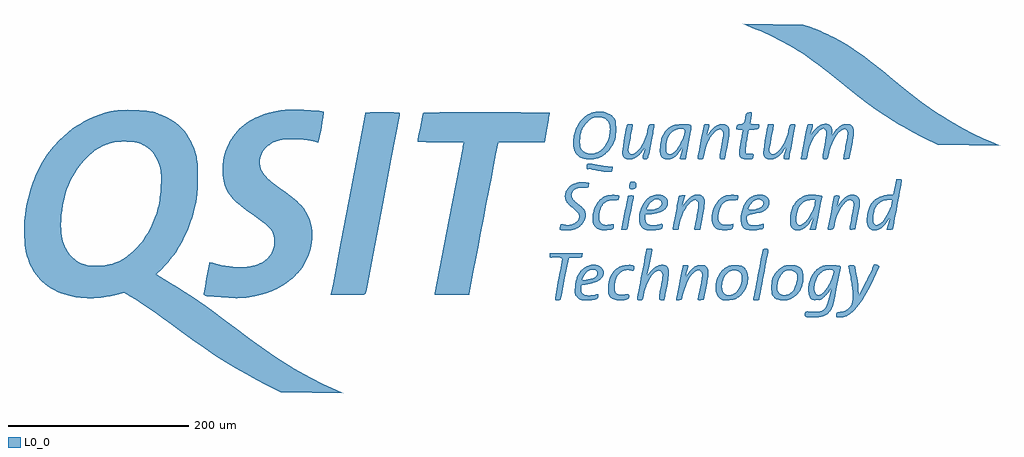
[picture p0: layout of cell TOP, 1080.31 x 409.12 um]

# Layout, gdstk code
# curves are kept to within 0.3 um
import gdstk
lib = gdstk.Library(unit=1e-6, precision=1e-09)
def P(c, l, *ps):  # polygons
    for p in ps: c.add(gdstk.Polygon(p, *l))
L0_0 = (0, 0)

top = lib.new_cell('TOP')
P(top, L0_0, [(353.5,94.997),(284.5,96.257),(257.091,109.932),(234.391,122.581),(211.86,136.74),(186.235,154.556),(146.978,183.075),(123.345,198.933),(111.101,206.168),(95.745,202.479),(84.936,200.949),(77.577,200.49),(63.179,200.894),(53.142,202.341),(40.829,205.892),(33.263,209.404),(23.175,216.139),(15.843,223.318),(11.734,228.795),(8.091,235.16),(4.678,243.265),(2.292,251.729),(0.763,262.131),(0.258,269.954),(0.556,285.625),(2.779,302.551),(4.627,311.127),(6.941,319.588),(12.611,335.224),(15.51,341.55),(22.293,353.699),(26.157,359.488),(34.683,370.298),(37.895,373.742),(111.931,373.742),(100.237,372.929),(93.818,371.156),(86.911,368.249),(78.16,363.273),(74.434,360.277),(67.114,353.157),(60.285,344.893),(57.253,340.468),(52.006,331.113),(49.754,326.093),(46.027,315.456),(42.26,297.652),(41.062,281.431),(41.925,269.17),(43.218,263.476),(45.164,257.97),(47.236,253.732),(50.964,248.393),(55.593,243.824),(59.093,241.299),(62.879,239.227),(68.728,237.104),(73.646,236.271),(81.127,236.107),(93.215,237.24),(98.469,238.559),(106.563,241.98),(112.013,245.161),(117.88,249.51),(121.735,252.911),(128.775,260.396),(135.166,269.123),(140.601,278.682),(146.903,294.517),(150.431,309.844),(151.341,318.186),(151.874,336.629),(150.886,344.067),(148.858,350.497),(144.555,358.982),(139.916,364.63),(132.454,369.673),(124.234,372.829),(111.931,373.742),(37.895,373.742),(49.103,384.126),(54.399,388.175),(65.579,395.326),(77.36,401.056),(83.483,403.392),(89.732,405.365),(100.788,407.86),(114.869,408.749),(127.983,408.422),(141.608,406.848),(148.101,404.868),(159.451,400.066),(165.001,396.822),(170.145,392.978),(176.943,386.199),(182.701,378.1),(187.974,367.115),(190.593,359.062),(192.004,351.843),(192.384,346.119),(192.302,321.187),(191.367,310.441),(189.982,302.896),(186.185,288.705),(181.224,275.214),(175.08,262.484),(171.638,256.538),(163.961,245.326),(155.369,235.382),(146.298,226.558),(170.507,212.184),(185.955,202.356),(201.845,191.404),(250.317,155.399),(280.052,134.352),(299.406,122.353),(311.601,115.386),(331.219,105.096)],
  [(626.266,353.982),(620.894,354.451),(616.273,355.967),(612.365,358.898),(610.078,362.08),(608.537,366.731),(608.142,373.894),(608.814,380.024),(610.409,385.865),(611.968,389.566),(614.994,394.712),(620.552,400.83),(636.027,400.83),(631.105,400.261),(628.663,399.251),(624.751,395.995),(620.06,390.536),(617.706,386.158),(616.478,382.23),(615.548,372.475),(615.872,368.679),(616.823,365.842),(618.411,363.545),(621.061,361.545),(624.965,360.297),(628.7,360.121),(633.194,361.039),(636.429,362.463),(639.037,364.216),(641.915,367.107),(645.731,373.159),(647.251,376.727),(648.247,380.973),(648.824,387.125),(648.548,391.059),(647.568,394.28),(646.245,396.462),(644.43,398.258),(639.632,400.439),(636.027,400.83),(620.552,400.83),(626.292,404.549),(633.264,406.597),(639.055,406.789),(645.874,405.243),(649.302,403.533),(652.031,401.347),(653.9,398.987),(654.955,396.422),(655.5,389.842),(655.376,381.08),(653.936,374.368),(651.787,369.748),(649.112,365.697),(646.347,362.491),(641.766,358.483),(635.68,355.375),(631.678,354.421)],
  [(712.264,353.937),(709.33,354.451),(706.958,355.736),(704.933,358.329),(704.163,360.796),(704.284,368.589),(704.857,372.913),(706.277,378.306),(708.973,383.633),(712.78,387.923),(727.392,387.923),(723.027,387.125),(718.338,384.909),(714.894,381.306),(712.829,377.457),(711.243,371.247),(711.209,362.744),(711.701,361.249),(712.744,360.15),(714.304,359.56),(716.062,359.652),(720.125,362.02),(724.491,367.542),(729.927,378.459),(731.211,382.761),(731.592,385.895),(730.874,387.098),(728.63,387.863),(712.78,387.923),(716.797,390.638),(721.827,392.384),(731.403,392.846),(735.252,392.654),(737.973,391.936),(738.861,389.879),(738.528,386.11),(732.632,354),(727.864,354.085),(726.007,354.83),(728.97,365.625),(729.584,368.51),(729.269,368.964),(728.724,366.888),(727.665,365.138),(721.462,357.477),(716.98,354.766)],
  [(694.288,275.307),(690.316,275.572),(687.129,276.477),(684.668,278.078),(682.852,280.254),(681.579,283.524),(681.016,287.558),(681.239,291.969),(682.22,296.773),(685.194,303.889),(689.69,309.887),(700.796,309.887),(697.205,308.947),(694.831,307.158),(690.347,301.266),(689.526,299.254),(689.746,298.155),(698.228,298.837),(701.351,299.703),(703.855,301.059),(705.439,302.85),(706,304.859),(705.55,307.328),(704.291,308.834),(701.408,309.865),(689.69,309.887),(693.082,312.479),(696.969,314.132),(702.06,314.923),(705.936,314.371),(709.916,312.287),(712.422,308.897),(712.966,305.085),(711.489,300.962),(708.244,297.675),(703.437,295.287),(697.613,293.859),(688,292.72),(688,288.236),(688.812,284.099),(691.192,281.782),(693.587,281.161),(697.412,281.034),(706.179,282.465),(706.915,281.787),(706.847,278.907),(705.846,277.257),(703.869,276.399)],
  [(807.769,275.3),(803.173,275.551),(799.163,276.532),(796.815,277.949),(795.092,280.069),(793.931,284.014),(793.59,288.145),(794.055,293.768),(794.934,297.617),(797.883,304.526),(801.958,309.799),(813.148,309.799),(809.495,308.865),(806.144,306.319),(802.139,300.185),(802.025,299.123),(802.625,298.249),(805.891,298.185),(810.155,298.798),(813.335,299.618),(816.136,301.051),(817.939,303.017),(818.785,305.529),(818.263,307.045),(816.441,308.903),(813.559,309.788),(801.958,309.799),(806.023,312.839),(809.469,314.214),(814.421,314.903),(818.527,314.429),(822.791,312.075),(824.928,308.531),(824.913,303.867),(822.854,299.891),(820.727,297.796),(817.644,296.041),(802.407,292.344),(800.963,291.79),(800.294,290.678),(800.376,287.619),(801.138,284.094),(801.979,282.525),(803.141,281.604),(809.464,280.98),(814.02,281.304),(818.087,282.507),(818.838,282.107),(818.85,278.557),(817.894,277.218),(812.585,275.81)],
  [(856.654,275.294),(853.285,275.882),(850.833,277.507),(849.012,279.972),(848.17,283.1),(848.188,288.657),(849.002,294.884),(850.281,299.579),(852.491,303.984),(856.823,309),(876.262,309),(869.069,308.838),(864.701,307.584),(860.91,305.007),(858.17,301.394),(856.505,297.313),(855.594,293.335),(855.238,285.021),(855.595,283.186),(856.583,281.761),(858.009,280.955),(859.674,281.001),(864.821,284.416),(868.569,289.211),(874.49,300.882),(876.262,309),(856.823,309),(862.089,312.781),(868.595,314.618),(876.524,314.619),(883.065,313.458),(883.519,311.694),(876.764,276),(870.007,276.238),(873.94,289.998),(869.7,283.767),(865.628,279.201),(861.282,276.364)],
  [(941.501,275.245),(938.436,275.895),(936.042,277.579),(934.264,280.111),(933.379,283.164),(933.233,288.885),(933.691,293.185),(935.181,299.084),(936.869,302.958),(939.005,306.168),(941.71,309),(961.262,309),(954.11,308.843),(949.813,307.623),(946.04,305.112),(942.833,300.792),(941.587,297.689),(940.353,291.962),(940.139,287.112),(940.578,283.636),(942.147,281.606),(944.022,281.053),(946.536,282.014),(949.073,283.759),(952.341,287.325),(957.026,295.4),(959.917,302.103),(961.262,309),(941.71,309),(945.688,311.721),(951.059,313.737),(955.656,314.508),(962.5,314.872),(965.951,331.85),(967.218,332.176),(971.662,331.484),(971.926,330.093),(961.978,276.387),(955.181,276),(958.325,288.669),(953.524,282.26),(949.707,278.472),(945.626,276.071)],
  [(871.146,179.068),(867.156,179.327),(865.089,180.163),(864.394,182.31),(865.244,184.86),(867.31,185.573),(879.877,185.298),(883.546,186.248),(885.891,187.736),(887.446,189.543),(888.688,192.107),(893.75,210.16),(893.29,210.848),(888.582,204.186),(885.517,201.182),(882.235,198.835),(879.806,198.12),(876.659,198.037),(873.353,198.528),(871.472,199.329),(870.267,200.746),(869.065,203.954),(868.314,211.112),(869.905,219.725),(872.713,226.065),(875.087,229.386),(877.715,232.042),(891.873,232.042),(886.883,231.092),(882.944,229.095),(879.89,226.133),(877.863,222.375),(875.299,213.876),(875.101,209.022),(875.745,206.61),(877.109,204.566),(878.78,203.557),(880.606,203.651),(884.435,206.003),(890.083,213.202),(894.467,222.023),(896.298,230.033),(895.537,231.324),(892.948,232),(877.715,232.042),(881.936,234.886),(886.944,236.549),(892.538,236.851),(903.284,235.996),(903.996,235.092),(904.131,233.881),(895.72,192.666),(894.068,188.419),(890.287,183.608),(886.035,180.931),(880.022,179.456)],
  [(841.243,197.942),(837.115,198.266),(833.097,199.37),(830.414,201.134),(828.291,203.846),(827.597,207.005),(827.534,214.424),(827.855,218.87),(828.781,222.519),(831.368,227.24),(834.944,231.338),(846.508,231.338),(843.902,230.906),(841.511,229.7),(837.709,225.075),(834.727,218.044),(833.816,211.221),(835.043,207.089),(837.649,204.546),(842.558,203.71),(847.022,204.741),(849.158,206.076),(851.174,208.127),(854.122,213.891),(855.919,220.983),(856.155,224.355),(855.541,226.96),(853.534,229.458),(849.613,230.985),(834.944,231.338),(839.941,235.047),(843.687,236.455),(851.189,236.845),(856.208,235.871),(858.817,234.325),(860.506,232.605),(861.712,230.559),(862.607,227.506),(862.709,220.175),(860.936,212.268),(857.886,206.683),(853.433,202.226),(847.642,198.958)],
  [(775.744,198.028),(772.803,198.641),(769.792,200.904),(767.423,203.966),(766.022,207.672),(765.612,212.453),(766.171,217.55),(767.493,222.311),(769.141,225.92),(773.221,231.322),(786.399,231.322),(783.715,230.918),(781.121,229.829),(777.075,226.242),(774.387,221.619),(772.833,215.372),(773.09,209.606),(773.812,207.378),(774.989,205.625),(776.496,204.368),(778.519,203.577),(781.068,203.492),(783.641,204.048),(788.361,206.931),(792.359,212.674),(793.917,216.623),(794.707,220.556),(794.795,224.131),(794.261,226.4),(792.039,229.388),(788.414,231.13),(773.221,231.322),(777.477,234.64),(781.317,236.331),(789.53,236.657),(793.081,236.271),(795.681,235.353),(797.729,233.785),(799.68,231.275),(800.949,228.361),(801.54,225.21),(801.656,221.187),(801.082,217.032),(798.087,209.202),(793.843,203.712),(788.419,199.865),(784.254,198.563)],
  [(620.7,198),(617.525,198.21),(615.159,199.055),(611.857,202.047),(610.317,204.392),(609.975,206.811),(610.249,213.527),(610.899,218.364),(612.29,223.385),(614.721,228.115),(618.049,231.964),(629.984,231.964),(625.942,231.25),(623.116,229.48),(620.221,225.614),(618.032,220.865),(618.593,220.132),(619.563,219.938),(627.484,221.589),(631.919,223.07),(633.898,224.655),(634.888,226.892),(634.685,229.43),(633.224,231.268),(630.548,231.949),(618.049,231.964),(622.343,234.997),(627.311,236.842),(632.038,237.148),(635.75,236.273),(639.277,233.877),(641.877,229.835),(641.585,226.449),(639.804,223.06),(637.06,220.275),(633.176,218.206),(624.036,215.832),(617.601,214.968),(617,209.92),(617.7,206.146),(620.323,203.946),(625.947,203.228),(635.224,204.833),(635.912,204.099),(635.781,201.577),(633.947,199.635),(630.885,198.552)],
  [(1080.5,369.006),(1011.5,370.234),(979.867,386.149),(958.661,398.705),(942.542,409.362),(919.817,426.45),(893.857,447.616),(873.806,462.77),(851.381,477.613),(840.516,483.756),(828.702,489.697),(795.5,504.121),(862.783,503.02),(873.78,499.193),(889.896,492.252),(903.773,485.078),(911.17,480.688),(930.778,467.396),(950.664,451.783),(976.651,430.441),(997.934,414.404),(1010.568,405.63),(1023.061,397.654),(1035.402,390.503),(1062.443,376.941)],
  [(236.447,200.444),(226.639,200.611),(203.027,202.491),(201.139,203.046),(199.295,204.383),(205.404,239.609),(205.8,239.924),(222.976,236.034),(235.612,234.631),(247.535,235.078),(257.792,237.259),(263.095,239.58),(266.411,241.64),(270.309,244.922),(273.052,248.285),(275.133,252.067),(276.555,256.392),(277.192,260.182),(277.275,265.392),(276.495,269.989),(275.399,273.087),(273.316,276.514),(270.64,279.534),(267.136,282.679),(248.436,295.85),(235.552,306.095),(229.526,312.511),(224.291,320.731),(222.023,326.741),(220.663,333.033),(220,344.014),(221.518,356.317),(223.774,364.274),(226.56,370.944),(229.933,376.941),(233.971,382.51),(241.328,390.083),(247.002,394.527),(253.121,398.332),(265.673,403.823),(270.953,405.496),(281.756,407.921),(292.528,408.94),(317.455,408.356),(327.155,407.66),(331.705,406.517),(332.151,405.696),(329.654,389.558),(326.048,372.342),(314.451,375.265),(307.291,376.118),(290.964,376.326),(286.192,375.916),(282.063,374.951),(272.779,370.667),(266.934,365.783),(263.101,359.836),(261.29,353.096),(261.316,348.364),(262.513,343.433),(264.341,339.61),(268.097,334.618),(276.167,327.302),(289.68,317.546),(301.881,307.873),(309.069,300.388),(314.493,292.109),(316.367,287.806),(318.319,280.969),(319.078,275.74),(319.332,268.842),(318.816,261.959),(317.538,255.175),(313.922,244.641),(308.077,234.243),(303.152,227.993),(293.912,219.327),(283.227,212.251),(274.485,208.125),(262.142,203.979),(249.384,201.372)],
  [(339.841,204),(378.021,405.51),(401.812,406),(415.579,405.351),(415.993,404.826),(415.887,403.208),(378.404,205.945),(376.608,204.51),(372.531,204.046)],
  [(470.357,204),(455.194,204.32),(455.022,205.068),(487.038,373),(445.544,373.091),(436.265,373.657),(436.117,375.755),(441.77,404.597),(442.997,405.377),(460.559,405.945),(581.875,405.513),(576.547,373),(525.023,372.597),(492.993,204.53)],
  [(800.452,354),(797.455,354.339),(794.145,355.436),(792.603,357.051),(791.801,359.783),(791.669,362.773),(792.767,370.406),(795.993,386.658),(789.471,387.072),(788.552,388.026),(789.2,390.644),(790.106,391.981),(795.68,393.357),(797.084,394.427),(797.803,396.022),(799.062,402.873),(800.095,404.879),(804.409,406.044),(805.434,405.608),(805.858,404.622),(804.327,393.595),(805.494,393.069),(812.884,392.712),(813.803,391.993),(813.961,390.743),(813.274,388.604),(811.447,387.383),(802.532,386.5),(799.603,369.895),(799,360),(806.734,359.903),(807.597,359.456),(807.883,358.693),(807.27,355.928),(806.261,354.542)],
  [(670.134,354),(667.045,354.466),(664.93,355.648),(663.206,358.048),(662.316,361.108),(665.166,380.602),(667.64,391.991),(669.1,392.762),(671.17,393),(673.027,392.695),(673.989,391.854),(669.178,364.3),(669.445,362.446),(670.338,360.826),(671.625,359.81),(673.398,359.434),(675.142,359.93),(678.965,362.844),(682.051,366.439),(685.014,371.119),(688.418,378.942),(691.877,391.695),(692.699,392.357),(694.545,392.789),(697.798,392.442),(697.956,391.425),(693.754,368.793),(691.833,358.884),(690.665,355.293),(689.445,354.326),(687.785,354),(685.82,354.485),(685.09,355.495),(685.13,357.649),(687.952,367.907),(683.199,361.243),(679.416,357.303),(674.786,354.711)],
  [(748.769,354),(746.387,354.628),(746.037,356.336),(751.855,387.936),(753.087,392.08),(754.175,392.803),(756.222,393),(758.149,392.652),(758.831,391.833),(758.814,390.045),(756.046,380.128),(762.071,387.417),(767.385,391.511),(770.483,392.686),(773.406,393),(775.943,392.551),(778.465,391.219),(780.452,388.284),(781,382.291),(779.864,373.698),(775.966,354.268),(771.964,354.138),(770.774,354.714),(770.211,355.669),(770.339,358.801),(774.199,381.969),(773.995,384.377),(773.349,385.649),(771.874,386.652),(769.927,387),(767.604,386.391),(765.663,385.055),(762.975,382.287),(759.382,377.425),(755.992,370.024),(752.1,355.282),(750.991,354.241)],
  [(826.135,354),(823.05,354.465),(820.936,355.642),(819.212,358.027),(818.334,361.035),(821.161,380.293),(823.756,392.167),(824.859,392.778),(827.203,392.987),(829.391,392.627),(829.993,391.837),(825.178,363.881),(825.46,362.277),(826.505,360.638),(827.832,359.717),(829.395,359.435),(831.137,359.93),(834.962,362.842),(838.054,366.434),(841.027,371.111),(844.452,378.936),(847.956,391.684),(850.591,392.79),(853.599,392.521),(853.942,391.004),(846.988,354.192),(842.86,354.122),(841.634,354.616),(840.995,355.69),(840.98,357.225),(843.27,364.82),(843.534,367.053),(838.112,359.942),(834.535,356.644),(830.802,354.715)],
  [(862.733,354),(860.617,354.261),(860.22,355.524),(865.714,384.128),(867.267,391.409),(868.005,392.536),(871.888,392.956),(873.402,392.17),(871.041,382.421),(871.473,381.625),(876.469,387.77),(880.91,391.297),(885.998,393.063),(888.533,393.118),(890.466,392.592),(892.985,390.64),(894.431,387.857),(894.799,385.209),(894.251,380.046),(900.795,388.439),(903.238,390.551),(905.937,392.078),(909.428,392.956),(913.306,392.809),(915.38,391.931),(917.331,389.81),(918.717,385.83),(918.614,381.407),(913.5,354.5),(908.829,354.125),(907.011,354.615),(911.812,381.797),(911.217,385.959),(910.15,386.899),(908.398,387.293),(905.896,386.633),(903.06,384.52),(900.499,381.776),(897.516,377.501),(893.622,369.1),(889.521,354.87),(888.68,354.27),(886.787,354),(884.593,354.883),(884.177,355.901),(884.341,358.813),(888.247,382.663),(888.071,384.974),(887.423,386.605),(886.406,387.398),(884.533,387.74),(882.614,387.29),(880.903,386.049),(875.158,379.233),(870.381,369.693),(868.723,364.471),(866.666,355.286),(865.634,354.247)],
  [(647.944,339.961),(641.734,340.37),(629.108,342.706),(624.204,343.132),(623.109,344.262),(623.345,347.741),(624.696,348.886),(629.086,348.83),(641.337,346.687),(651.064,345.851),(651.816,345.061),(650.936,340.424),(650.355,339.994)],
  [(673.284,320.949),(671.509,321.278),(670.508,322.191),(670.052,324.005),(670.296,325.968),(672.092,328.986),(675.441,329.251),(676.719,328.59),(677.723,327.241),(677.971,323.747),(676.414,321.815)],
  [(599.942,275.508),(593.556,276.114),(593.441,278.825),(594.294,281.994),(595.349,282.373),(602.669,281.223),(607.967,282.313),(610.549,283.66),(612.887,285.701),(614.188,287.921),(614.68,290.585),(614.295,293.033),(612.713,295.581),(603.107,303.832),(600.083,308.043),(599.235,310.649),(599,313.411),(599.392,316.27),(600.485,319.181),(602.399,322.088),(604.327,324.038),(607.468,326.193),(610.676,327.605),(614.751,328.476),(625.061,328.133),(625.622,327.659),(625.521,326.105),(624.427,322.757),(623.156,322.402),(615.72,322.633),(611.619,321.608),(607.859,318.969),(606.249,315.462),(606.559,312.419),(608.28,309.514),(617.041,301.879),(619.816,299.05),(621.009,297.078),(621.774,294.528),(621.899,291.624),(620.322,285.761),(616.706,280.777),(612.339,277.661),(607.508,275.914)],
  [(642.615,275.405),(638.342,275.951),(634.943,277.351),(632.128,279.654),(630.468,282.252),(629.757,284.974),(629.648,290.168),(630.24,294.97),(631.541,299.554),(633.551,303.793),(636.124,307.45),(639.154,310.451),(642.007,312.394),(647.543,314.305),(653.642,314.563),(657.726,314.231),(658.778,313.556),(658.928,312.709),(658.519,310.28),(657.767,308.949),(656.368,308.542),(649.72,308.725),(645.672,307.664),(641.609,304.73),(638.804,300.255),(637.529,296.321),(636.822,291.014),(637.131,286.648),(638.448,283.905),(640.159,282.317),(642.607,281.412),(646.181,281.331),(651.764,282.363),(652.886,281.703),(652.807,278.509),(651.718,276.903),(647.448,275.786)],
  [(720.346,276),(718.433,276.39),(718.227,277.784),(724.43,310.376),(725.294,313.155),(726.611,313.884),(731.859,314),(729.246,304.347),(729.199,302.342),(734.899,309.283),(738.249,312.328),(740.537,313.738),(743.523,314.766),(745.824,314.984),(748.469,314.525),(750.831,313.247),(753.018,310.451),(753.663,307.149),(751.981,294.124),(748.619,276),(743.205,276.072),(742.156,276.828),(746.737,303.547),(746.54,305.904),(745.91,307.209),(744.5,308.311),(742.55,308.821),(740.558,308.34),(738.092,306.496),(732.944,300.503),(730.064,295.346),(727.693,289.271),(725.294,280.675),(724.779,276.887),(723.473,276.116)],
  [(775.953,275.529),(771.486,275.836),(767.659,276.762),(764.778,278.814),(762.854,281.43),(761.781,284.495),(761.381,288.892),(761.8,293.781),(763.153,298.707),(767.299,306.504),(769.636,309.249),(773.068,311.922),(775.988,313.38),(779.349,314.273),(789.68,314.282),(790.816,313.172),(790.434,310.593),(789.611,308.977),(788.233,308.556),(781.672,308.737),(777.072,307.414),(773.136,304.172),(770.167,298.483),(768.915,293.553),(768.67,288.473),(769.319,285.547),(770.749,283.43),(772.939,281.956),(776.052,281.403),(778.988,281.531),(785,282.758),(784.912,278.669),(784.025,277.042),(780.774,275.931)],
  [(891.807,276.118),(890.1,276.401),(890.068,277.539),(896.004,309.344),(897.171,313.174),(898.318,313.845),(900.628,313.976),(902.232,313.612),(902.831,312.833),(902.814,311.045),(900.048,301.096),(905.366,308.201),(908.33,311.103),(911.083,313.016),(914.427,314.493),(917.022,314.91),(920.449,314.255),(922.768,313.018),(924.922,309.675),(925.259,304.427),(920.361,276.5),(915.53,276.145),(914.007,276.991),(918.429,303.423),(918.255,306.068),(917.682,307.391),(916.177,308.631),(914.305,309),(912.409,308.651),(910.401,307.51),(905.487,301.694),(901.972,295.611),(899.911,290.798),(896.381,277.722),(895.189,276.6)],
  [(661.346,276),(668.537,312.797),(669.173,313.522),(670.405,313.829),(674.42,313.777),(674.978,313.168),(674.918,311.867),(668.293,277.678),(667.634,276.629),(666.583,276.141)],
  [(681.745,198),(679.419,198.596),(679.087,200.837),(689.001,254.347),(690.045,254.863),(694.406,254.92),(695.34,254.296),(695.592,253.208),(692.266,236.458),(689.296,225.07),(696.575,232.749),(699.454,234.892),(703.123,236.582),(706.307,237.106),(709.745,236.519),(712.123,234.877),(713.455,232.475),(713.928,228.738),(713.518,222.979),(709.005,198.238),(704.955,198.134),(703.662,198.768),(703.134,199.744),(703.211,202.624),(706.112,218.493),(706.997,226.368),(706.603,228.159),(705.585,229.683),(704.284,230.612),(702.655,230.949),(700.514,230.293),(697.469,228.119),(693.218,222.779),(688.717,213.381),(685.085,199.278),(683.944,198.222)],
  [(809.961,198),(807.702,198.307),(807.31,199.44),(817.469,251.938),(817.927,253.419),(818.779,254.357),(820.36,255.038),(822.061,255.087),(823.747,254.094),(823.922,252.085),(814.006,198.679)],
  [(590.66,197.837),(588.467,198.6),(588.024,200.391),(596,244.273),(593.38,244.84),(582.905,245.355),(582.081,246.647),(582,250),(618.723,250),(617.992,246.644),(616.849,245.367),(603.017,244.76),(594.468,200.172),(593.176,198.526)],
  [(902.664,179),(900.271,179.272),(899.113,179.988),(899.2,182.318),(899.911,183.803),(901.463,184.735),(907.738,185.654),(911.819,187.8),(915.151,191.281),(916.96,195.778),(917.387,202.638),(916.963,211.598),(912.856,236.016),(915.079,236.762),(917.932,236.893),(919.042,236.358),(920.023,234.859),(922.384,223.116),(923.421,215.372),(924.33,202.563),(940.578,236.603),(941.402,237.447),(942.541,237.596),(946.186,236.128),(946.758,235.32),(946.697,234.396),(937.748,215.572),(930.874,202.99),(924.133,192.98),(918.491,186.182),(913.168,181.835),(907.89,179.516)],
  [(659.214,198),(655.428,198.433),(651.522,199.827),(649.195,201.483),(647.538,203.902),(646.812,207.764),(646.833,213.177),(647.374,217.98),(648.701,222.673),(650.631,226.72),(653.125,230.213),(656.137,232.997),(658.743,234.644),(661.519,235.818),(665.321,236.658),(669.933,237.04),(673.837,236.631),(675.093,235.909),(675.625,234.764),(675.522,232.945),(674.664,230.877),(673.626,230.632),(668.109,231.592),(663.111,230.423),(658.816,227.176),(656.895,224.536),(655.502,221.583),(654.447,217.63),(654,213.397),(654.341,208.541),(655.297,206.076),(658.137,204.309),(668.415,204.563),(669.573,204.173),(669.952,203.088),(669.599,200.84),(667.681,199.118),(664.779,198.28)],
  [(723.029,198.043),(722.158,198.636),(722.329,200.252),(727.714,228.128),(729.699,236.282),(733.25,236.993),(734.676,236.797),(735.416,236.118),(734.929,232.882),(732.565,224.976),(732.869,224.58),(739.114,232.32),(743.177,235.424),(746.107,236.55),(749.277,236.996),(752.357,236.801),(754.592,235.762),(757.158,232.185),(757.756,227.205),(756.266,217.363),(752.5,198.5),(747.828,198.133),(746.008,198.699),(750.814,225.658),(750.674,227.94),(749.875,229.478),(748.274,230.565),(746.024,230.86),(743.974,230.447),(741.907,228.977),(739.212,226.113),(736.488,222.175),(732.412,213.625),(728.177,199.362),(726.392,198.385)])

lib.write_gds('TOP.gds')
